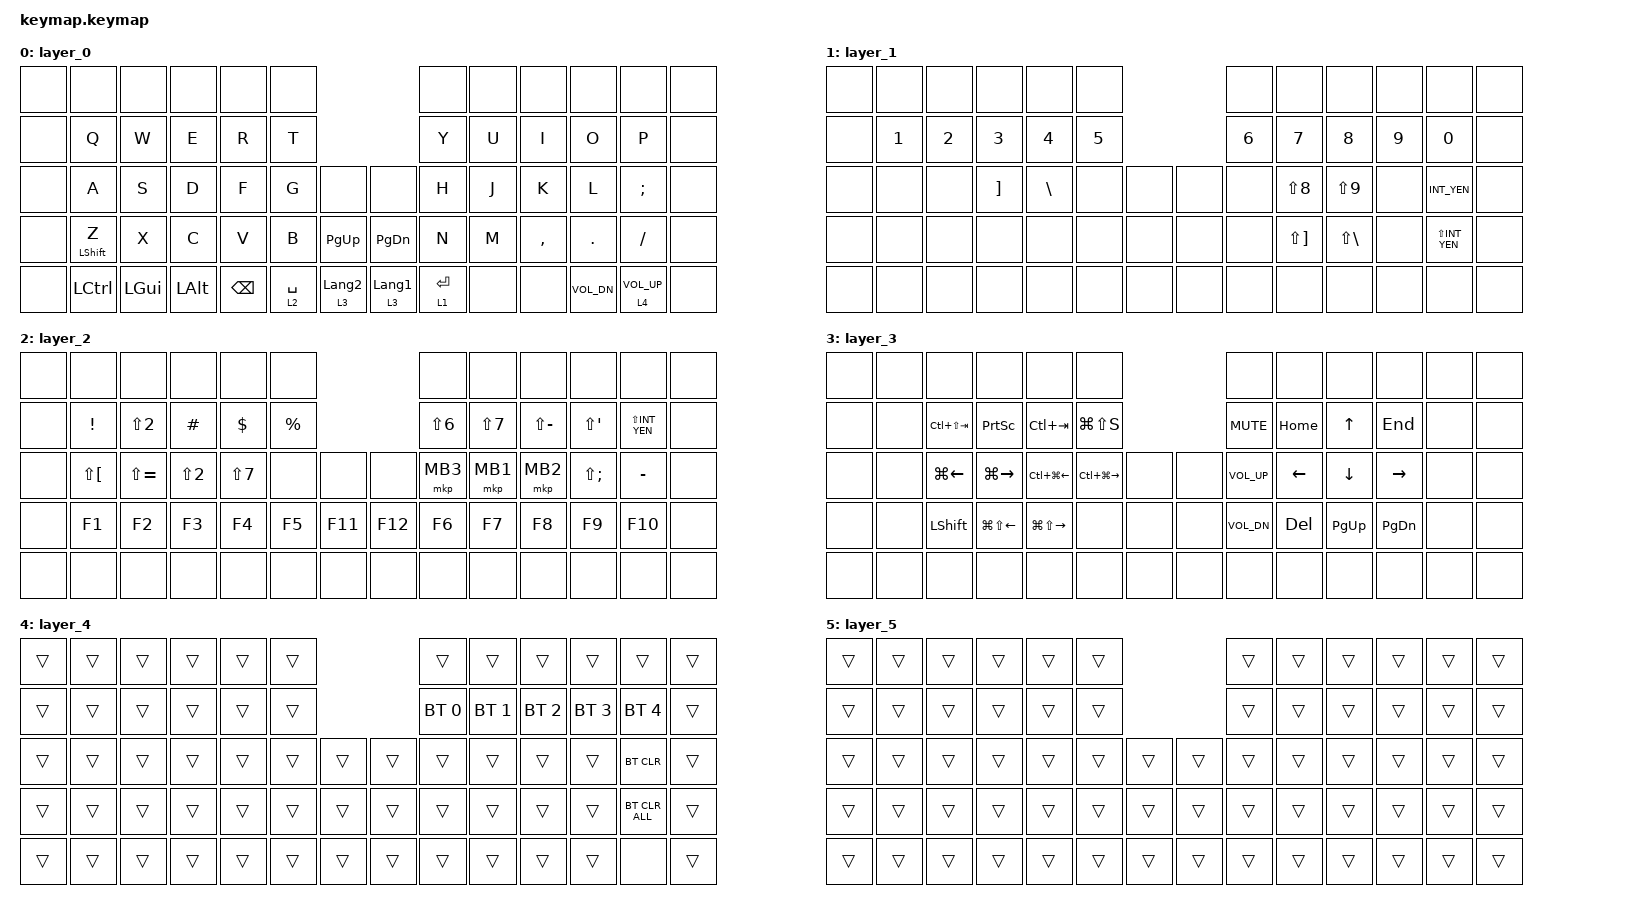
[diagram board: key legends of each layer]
#include <behaviors.dtsi>
#include <dt-bindings/zmk/bt.h>
#include <dt-bindings/zmk/keys.h>
#include <dt-bindings/zmk/pointing.h>

/ {
    combos {
        compatible = "zmk,combos";

        bt_clear {
            bindings = <&bt BT_CLR>;
            key-positions = <28 29>;
            layers = <2>;
        };

        lay4esc {
            bindings = <&lt 4 ESCAPE>;
            key-positions = <58 59>;
            timeout-ms = <250>;
            slow-release;
        };

        tab {
            bindings = <&kp TAB>;
            key-positions = <27 26>;
        };
    };

    keymap {
        compatible = "zmk,keymap";

        layer_0 {
            bindings = <
&none  &none             &none     &none     &none     &none                                            &none        &none  &none      &none         &none           &none
&none  &kp Q             &kp W     &kp E     &kp R     &kp T                                            &kp Y        &kp U  &kp I      &kp O         &kp P           &none
&none  &kp A             &kp S     &kp D     &kp F     &kp G        &none             &none             &kp H        &kp J  &kp K      &kp L         &kp SEMI        &none
&none  &mt LEFT_SHIFT Z  &kp X     &kp C     &kp V     &kp B        &kp PG_UP         &kp PAGE_DOWN     &kp N        &kp M  &kp COMMA  &kp DOT       &kp SLASH       &none
&none  &kp LCTRL         &kp LGUI  &kp LALT  &kp BSPC  &lt 2 SPACE  &lt 3 LANGUAGE_2  &lt 3 LANGUAGE_1  &lt 1 ENTER  &none  &none      &kp C_VOL_DN  &lt 4 C_VOL_UP  &none
            >;
        };

        layer_1 {
            bindings = <
&none  &none         &none         &none         &none         &none                       &none         &none             &none             &none         &none            &none
&none  &kp NUMBER_1  &kp NUMBER_2  &kp NUMBER_3  &kp NUMBER_4  &kp NUMBER_5                &kp NUMBER_6  &kp NUMBER_7      &kp NUMBER_8      &kp NUMBER_9  &kp NUMBER_0     &none
&none  &none         &none         &kp RBKT      &kp BSLH      &none         &none  &none  &none         &kp LS(NUMBER_8)  &kp LS(NUMBER_9)  &none         &kp INT_YEN      &none
&none  &none         &none         &none         &none         &none         &none  &none  &none         &kp LS(RBKT)      &kp LS(BSLH)      &none         &kp LS(INT_YEN)  &none
&none  &none         &none         &none         &none         &none         &none  &none  &none         &none             &none             &none         &none            &none
            >;
        };

        layer_2 {
            bindings = <
&none  &none            &none             &none             &none             &none                          &none             &none             &none          &none         &none            &none
&none  &kp EXCLAMATION  &kp LS(NUMBER_2)  &kp POUND         &kp DOLLAR        &kp PERCENT                    &kp LS(NUMBER_6)  &kp LS(NUMBER_7)  &kp LS(MINUS)  &kp LS(SQT)   &kp LS(INT_YEN)  &none
&none  &kp LS(LBKT)     &kp LS(EQUAL)     &kp LS(NUMBER_2)  &kp LS(NUMBER_7)  &none        &none    &none    &mkp MB3          &mkp MB1          &mkp MB2       &kp LS(SEMI)  &kp MINUS        &none
&none  &kp F1           &kp F2            &kp F3            &kp F4            &kp F5       &kp F11  &kp F12  &kp F6            &kp F7            &kp F8         &kp F9        &kp F10          &none
&none  &none            &none             &none             &none             &none        &none    &none    &none             &none             &none          &none         &none            &none
            >;
        };

        layer_3 {
            bindings = <
&none  &none  &none            &none             &none                   &none                            &none         &none       &none           &none          &none  &none
&none  &none  &kp LC(LS(TAB))  &kp PSCRN         &kp LC(TAB)             &kp LG(LS(S))                    &kp K_MUTE    &kp HOME    &kp UP_ARROW    &kp END        &none  &none
&none  &none  &kp LG(LEFT)     &kp LG(RIGHT)     &kp LC(LG(LEFT_ARROW))  &kp LC(LG(RIGHT))  &none  &none  &kp C_VOL_UP  &kp LEFT    &kp DOWN_ARROW  &kp RIGHT      &none  &none
&none  &none  &kp LSHIFT       &kp LG(LS(LEFT))  &kp LG(LS(RIGHT))       &none              &none  &none  &kp C_VOL_DN  &kp DELETE  &kp PG_UP       &kp PAGE_DOWN  &none  &none
&none  &none  &none            &none             &none                   &none              &none  &none  &none         &none       &none           &none          &none  &none
            >;
        };

        layer_4 {
            bindings = <
&trans  &trans  &trans  &trans  &trans  &trans                  &trans        &trans        &trans        &trans        &trans          &trans
&trans  &trans  &trans  &trans  &trans  &trans                  &bt BT_SEL 0  &bt BT_SEL 1  &bt BT_SEL 2  &bt BT_SEL 3  &bt BT_SEL 4    &trans
&trans  &trans  &trans  &trans  &trans  &trans  &trans  &trans  &trans        &trans        &trans        &trans        &bt BT_CLR      &trans
&trans  &trans  &trans  &trans  &trans  &trans  &trans  &trans  &trans        &trans        &trans        &trans        &bt BT_CLR_ALL  &trans
&trans  &trans  &trans  &trans  &trans  &trans  &trans  &trans  &trans        &trans        &trans        &trans        &none           &trans
            >;
        };

        layer_5 {
            bindings = <
&trans  &trans  &trans  &trans  &trans  &trans                  &trans  &trans  &trans  &trans  &trans  &trans
&trans  &trans  &trans  &trans  &trans  &trans                  &trans  &trans  &trans  &trans  &trans  &trans
&trans  &trans  &trans  &trans  &trans  &trans  &trans  &trans  &trans  &trans  &trans  &trans  &trans  &trans
&trans  &trans  &trans  &trans  &trans  &trans  &trans  &trans  &trans  &trans  &trans  &trans  &trans  &trans
&trans  &trans  &trans  &trans  &trans  &trans  &trans  &trans  &trans  &trans  &trans  &trans  &trans  &trans
            >;
        };
    };
};
